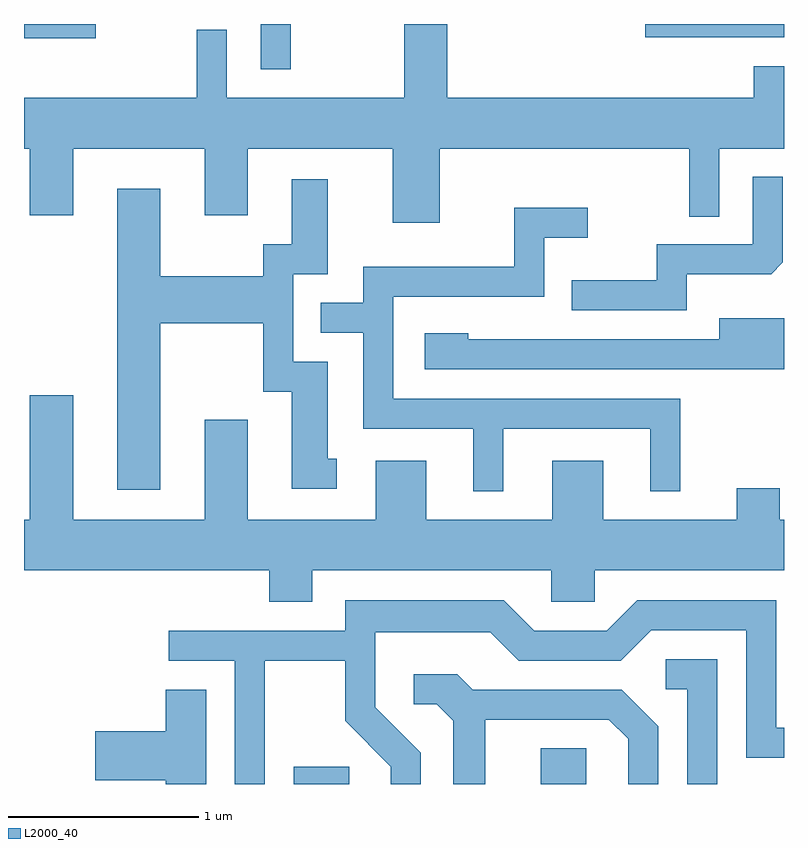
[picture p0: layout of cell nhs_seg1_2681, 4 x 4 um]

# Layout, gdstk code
import gdstk
lib = gdstk.Library(unit=1e-6, precision=1e-09)
def R(c, l, rs):  # rectangles x0, y0, x1, y1
    for r in rs: c.add(gdstk.rectangle(r[:2], r[2:], *l))
def P(c, l, *ps):  # polygons
    for p in ps: c.add(gdstk.Polygon(p, *l))
L2000_40 = (2000, 40)

nhs_seg1_2681 = lib.new_cell('nhs_seg1_2681')
R(nhs_seg1_2681, L2000_40, [(267.031,971.712,267.324,971.804), (268.331,971.712,268.569,971.899), (266.856,975.473,267.014,975.712), (265.611,975.636,265.988,975.712), (268.881,975.641,269.611,975.712)])
P(nhs_seg1_2681, L2000_40, [(267.799,975.056),(269.111,975.056),(269.111,974.698),(269.269,974.698),(269.269,975.056),(269.611,975.056),(269.611,975.489),(269.451,975.489),(269.451,975.324),(267.839,975.324),(267.839,975.712),(267.611,975.712),(267.611,975.324),(266.679,975.324),(266.679,975.683),(266.521,975.683),(266.521,975.324),(265.611,975.324),(265.611,975.056),(265.641,975.056),(265.641,974.706),(265.869,974.706),(265.869,975.056),(266.561,975.056),(266.561,974.706),(266.789,974.706),(266.789,975.056),(267.551,975.056),(267.551,974.666),(267.799,974.666)],
  [(269.099,974.396),(269.544,974.396),(269.604,974.457),(269.604,974.908),(269.446,974.908),(269.446,974.554),(268.941,974.554),(268.941,974.364),(268.493,974.364),(268.493,974.206),(269.099,974.206)],
  [(266.329,974.136),(266.871,974.136),(266.871,973.776),(267.021,973.776),(267.021,973.266),(267.258,973.266),(267.258,973.424),(267.209,973.424),(267.209,973.934),(267.029,973.934),(267.029,974.396),(267.209,974.396),(267.209,974.894),(267.021,974.894),(267.021,974.554),(266.871,974.554),(266.871,974.384),(266.329,974.384),(266.329,974.844),(266.101,974.844),(266.101,973.261),(266.329,973.261)],
  [(268.134,973.581),(268.906,973.581),(268.906,973.253),(269.064,973.253),(269.064,973.739),(267.554,973.739),(267.554,974.276),(268.349,974.276),(268.349,974.586),(268.578,974.586),(268.578,974.744),(268.191,974.744),(268.191,974.434),(267.396,974.434),(267.396,974.244),(267.173,974.244),(267.173,974.086),(267.396,974.086),(267.396,973.581),(267.976,973.581),(267.976,973.253),(268.134,973.253)],
  [(269.611,974.164),(269.271,974.164),(269.271,974.054),(267.949,974.054),(267.949,974.084),(267.721,974.084),(267.721,973.896),(269.611,973.896)],
  [(267.129,972.836),(268.386,972.836),(268.386,972.671),(268.614,972.671),(268.614,972.836),(269.611,972.836),(269.611,973.104),(269.589,973.104),(269.589,973.269),(269.361,973.269),(269.361,973.104),(268.659,973.104),(268.659,973.414),(268.391,973.414),(268.391,973.104),(267.729,973.104),(267.729,973.414),(267.461,973.414),(267.461,973.104),(266.789,973.104),(266.789,973.629),(266.561,973.629),(266.561,973.104),(265.869,973.104),(265.869,973.759),(265.641,973.759),(265.641,973.104),(265.611,973.104),(265.611,972.836),(266.901,972.836),(266.901,972.671),(267.129,972.671)],
  [(266.879,972.361),(267.301,972.361),(267.301,972.044),(267.541,971.804),(267.541,971.712),(267.699,971.712),(267.699,971.877),(267.459,972.117),(267.459,972.511),(268.064,972.511),(268.214,972.361),(268.752,972.361),(268.912,972.521),(269.411,972.521),(269.411,971.851),(269.611,971.851),(269.611,972.009),(269.569,972.009),(269.569,972.679),(268.839,972.679),(268.679,972.519),(268.297,972.519),(268.137,972.679),(267.301,972.679),(267.301,972.519),(266.373,972.519),(266.373,972.361),(266.721,972.361),(266.721,971.712),(266.879,971.712)],
  [(269.259,972.369),(268.988,972.369),(268.988,972.211),(269.101,972.211),(269.101,971.712),(269.259,971.712)],
  [(268.039,972.051),(268.689,972.051),(268.791,971.949),(268.791,971.712),(268.949,971.712),(268.949,972.017),(268.757,972.209),(267.972,972.209),(267.892,972.289),(267.663,972.289),(267.663,972.131),(267.784,972.131),(267.871,972.044),(267.871,971.712),(268.039,971.712)],
  [(266.569,972.209),(266.356,972.209),(266.356,971.989),(265.986,971.989),(265.986,971.731),(266.356,971.731),(266.356,971.712),(266.569,971.712)])

lib.write_gds('nhs_seg1_2681.gds')
